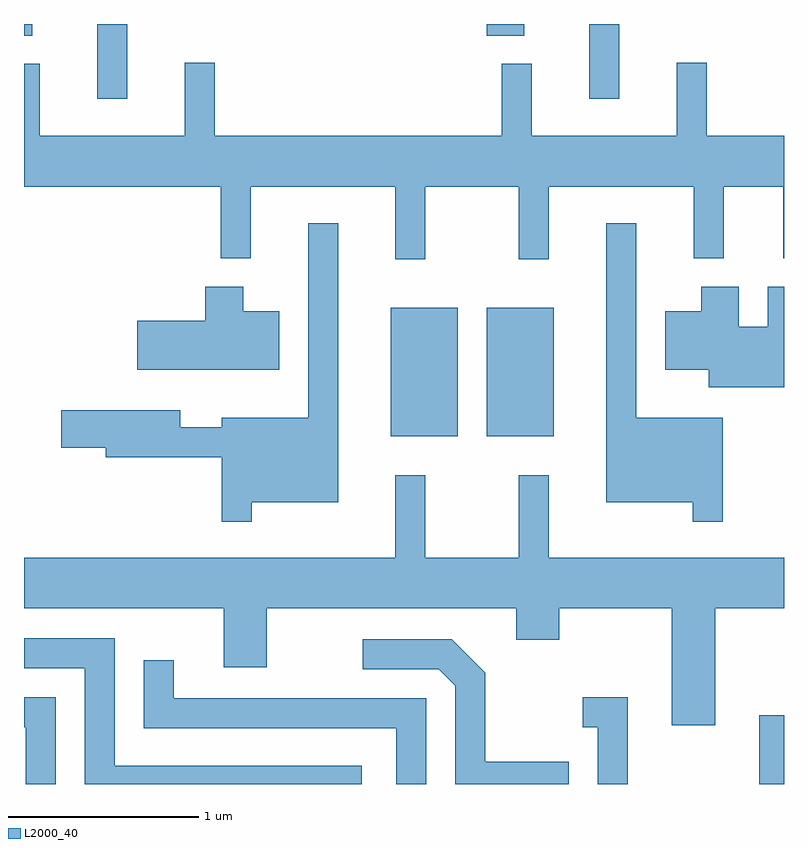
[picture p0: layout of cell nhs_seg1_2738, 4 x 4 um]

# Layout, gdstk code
import gdstk
lib = gdstk.Library(unit=1e-6, precision=1e-09)
def R(c, l, rs):  # rectangles x0, y0, x1, y1
    for r in rs: c.add(gdstk.rectangle(r[:2], r[2:], *l))
def P(c, l, *ps):  # polygons
    for p in ps: c.add(gdstk.Polygon(p, *l))
L2000_40 = (2000, 40)

nhs_seg1_2738 = lib.new_cell('nhs_seg1_2738')
R(nhs_seg1_2738, L2000_40, [(271.481,949.712,271.611,950.074), (269.541,951.541,269.894,952.219), (270.046,951.541,270.399,952.219), (267.996,953.318,268.154,953.712), (270.586,953.318,270.744,953.712), (267.611,953.651,267.654,953.712), (270.046,953.651,270.244,953.712)])
P(nhs_seg1_2738, L2000_40, [(269.724,952.856),(270.216,952.856),(270.216,952.473),(270.374,952.473),(270.374,952.856),(271.136,952.856),(271.136,952.478),(271.294,952.478),(271.294,952.856),(271.606,952.856),(271.606,952.478),(271.611,952.478),(271.611,953.124),(271.204,953.124),(271.204,953.508),(271.046,953.508),(271.046,953.124),(270.284,953.124),(270.284,953.503),(270.126,953.503),(270.126,953.124),(268.614,953.124),(268.614,953.508),(268.456,953.508),(268.456,953.124),(267.694,953.124),(267.694,953.503),(267.611,953.503),(267.611,952.856),(268.646,952.856),(268.646,952.478),(268.804,952.478),(268.804,952.856),(269.566,952.856),(269.566,952.473),(269.724,952.473)],
  [(271.289,951.639),(270.834,951.639),(270.834,952.663),(270.676,952.663),(270.676,951.196),(271.131,951.196),(271.131,951.093),(271.289,951.093)],
  [(268.809,951.196),(269.264,951.196),(269.264,952.663),(269.106,952.663),(269.106,951.639),(268.651,951.639),(268.651,951.589),(268.434,951.589),(268.434,951.679),(267.806,951.679),(267.806,951.481),(268.041,951.481),(268.041,951.431),(268.651,951.431),(268.651,951.093),(268.809,951.093)],
  [(268.954,952.199),(268.764,952.199),(268.764,952.329),(268.566,952.329),(268.566,952.149),(268.206,952.149),(268.206,951.891),(268.954,951.891)],
  [(271.611,952.329),(271.526,952.329),(271.526,952.119),(271.374,952.119),(271.374,952.329),(271.176,952.329),(271.176,952.199),(270.986,952.199),(270.986,951.891),(271.216,951.891),(271.216,951.801),(271.611,951.801)],
  [(271.249,950.636),(271.611,950.636),(271.611,950.904),(270.374,950.904),(270.374,951.338),(270.216,951.338),(270.216,950.904),(269.724,950.904),(269.724,951.338),(269.566,951.338),(269.566,950.904),(267.611,950.904),(267.611,950.636),(268.661,950.636),(268.661,950.326),(268.889,950.326),(268.889,950.636),(270.201,950.636),(270.201,950.471),(270.429,950.471),(270.429,950.636),(271.021,950.636),(271.021,950.021),(271.249,950.021)],
  [(269.389,949.809),(268.089,949.809),(268.089,950.479),(267.611,950.479),(267.611,950.321),(267.931,950.321),(267.931,949.712),(269.389,949.712)],
  [(270.479,949.829),(270.039,949.829),(270.039,950.297),(269.862,950.474),(269.393,950.474),(269.393,950.316),(269.794,950.316),(269.881,950.229),(269.881,949.712),(270.479,949.712)],
  [(269.729,950.164),(268.399,950.164),(268.399,950.363),(268.241,950.363),(268.241,950.006),(269.571,950.006),(269.571,949.712),(269.729,949.712)],
  [(267.779,950.169),(267.611,950.169),(267.611,950.011),(267.621,950.011),(267.621,949.712),(267.779,949.712)],
  [(270.789,950.169),(270.553,950.169),(270.553,950.011),(270.631,950.011),(270.631,949.712),(270.789,949.712)])

lib.write_gds('nhs_seg1_2738.gds')
